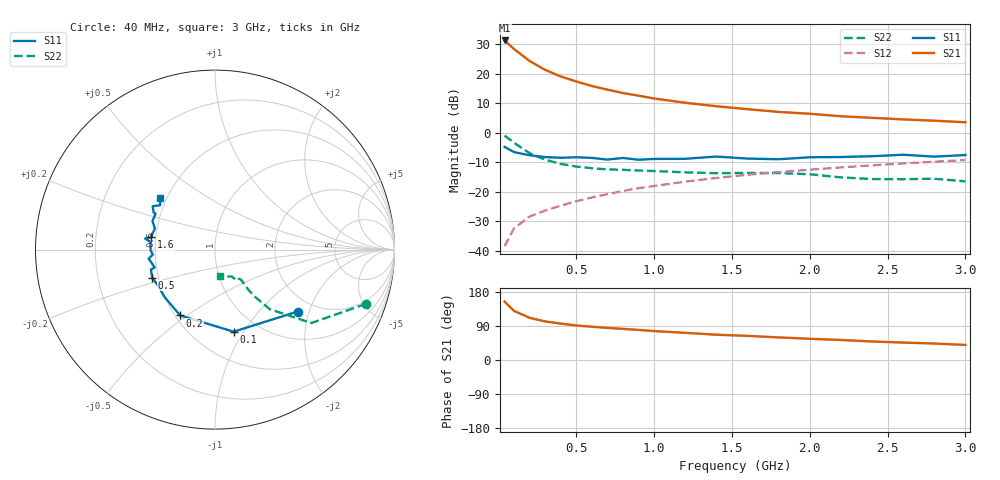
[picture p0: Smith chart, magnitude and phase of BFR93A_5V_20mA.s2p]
! Filename:  BFR93AC.S2P  Version:  2.0
! Philips part #: BFR93A  Date: May 1990
! Bias condition: Vce=5V, Ic=20mA
#  MHz  S  MA  R  50
! Freq  S11  S21  S12  S22  !GUM [dB]
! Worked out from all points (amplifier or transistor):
!   21 points, 40 MHz to 3 GHz, reference 50 ohm
!   highest |S21| = 31.2 dB at 40 MHz (marker M1)
!   |S21| within 3 dB of that: start of sweep to 103.1 MHz
!   unconditionally stable (mu >= 1): 671.5 MHz to 793.2 MHz; 803.2 MHz to 2.512 GHz; 2.704 GHz to 2.908 GHz
!   at 300 MHz: K = 0.82, MSG = 23.8 dB, |S12| = -26.4 dB
!   at 1 GHz: K = 1.03, MAG = 13.7 dB, |S12| = -18.1 dB
!   at 3 GHz: K = 0.99, MSG = 6.4 dB, |S12| = -9.2 dB
!   S11 on the Smith chart (normalised r, x): 40 MHz: 1.63, -1.68; 100 MHz: 0.77, -0.90; 200 MHz: 0.53, -0.47; 500 MHz: 0.46, -0.17; 1.6 GHz: 0.47, +0.07; 3 GHz: 0.46, +0.32
40  0.575 -36.9  36.29 154.1  0.012 74.7  0.893 -19.8
100  0.469 -77.2  26.07 129.7  0.024 61.3  0.675 -37.3
200  0.415 -117.9  16.36 111.4  0.038 61.4  0.451 -47.4
300  0.386 -136.5  11.55 101.9  0.048 63.3  0.349 -49.6
400  0.376 -147.9  8.937 96.1  0.058 65.4  0.296 -50.3
500  0.383 -156.0  7.343 91.1  0.069 67.4  0.267 -49.9
600  0.374 -162.7  6.156 87.8  0.08 68.3  0.25 -49.6
700  0.35 -163.6  5.347 84.7  0.091 70.0  0.239 -49.6
800  0.373 -172.2  4.681 82.1  0.103 69.8  0.235 -49.2
900  0.348 -175.4  4.224 79.4  0.115 70.2  0.229 -49.4
1000  0.359 -179.5  3.783 76.4  0.125 70.6  0.224 -49.1
1200  0.361 173.4  3.205 71.6  0.148 70.4  0.213 -50.0
1400  0.394 171.0  2.798 66.8  0.171 69.2  0.206 -52.8
1600  0.364 169.2  2.495 63.6  0.194 69.1  0.208 -54.2
1800  0.355 160.6  2.242 59.6  0.215 67.6  0.207 -55.6
2000  0.383 155.4  2.087 56.0  0.236 66.3  0.198 -55.8
2200  0.387 148.8  1.895 52.8  0.258 65.8  0.175 -58.4
2400  0.399 148.9  1.781 48.9  0.28 64.4  0.164 -66.7
2600  0.423 145.2  1.676 46.0  0.301 62.7  0.163 -73.5
2800  0.393 141.0  1.591 43.5  0.322 61.5  0.166 -77.0
3000  0.418 136.6  1.499 39.7  0.345 59.8  0.15 -79.5
